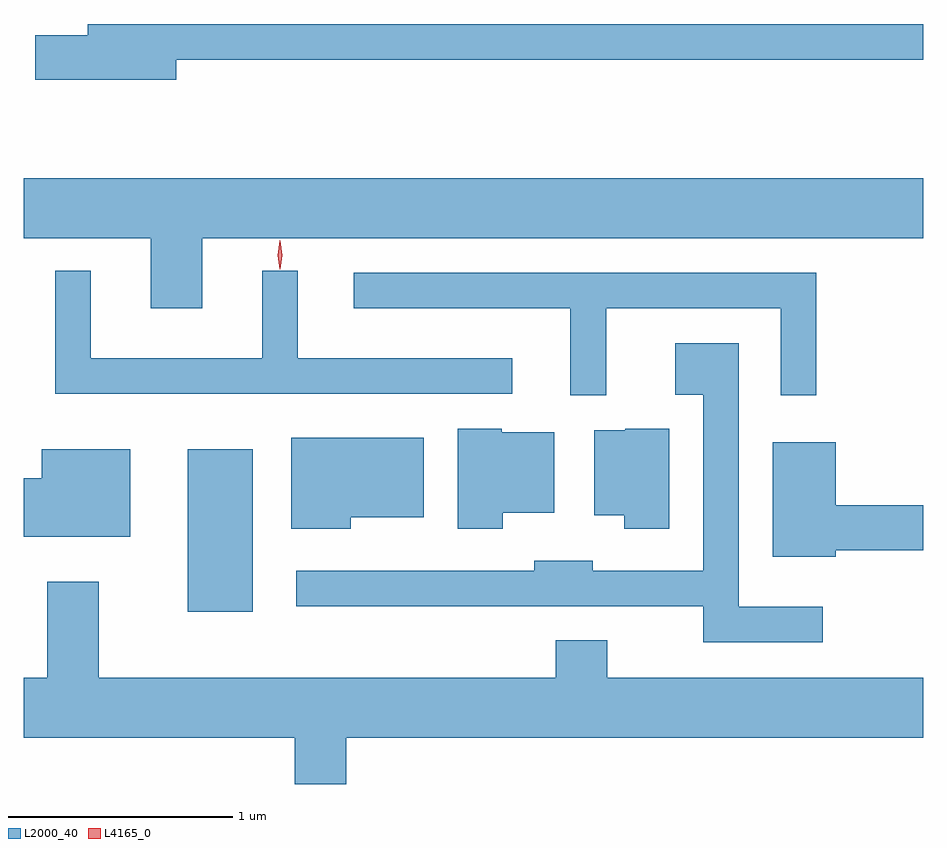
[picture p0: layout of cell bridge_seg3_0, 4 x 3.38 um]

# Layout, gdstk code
import gdstk
lib = gdstk.Library(unit=1e-6, precision=1e-09)
def R(c, l, rs):  # rectangles x0, y0, x1, y1
    for r in rs: c.add(gdstk.rectangle(r[:2], r[2:], *l))
def P(c, l, *ps):  # polygons
    for p in ps: c.add(gdstk.Polygon(p, *l))
L2000_40 = (2000, 40)
L4165_0 = (4165, 0)

bridge_seg3_0 = lib.new_cell('bridge_seg3_0')
R(bridge_seg3_0, L2000_40, [(1118.006,1250.896,1118.294,1251.619)])
P(bridge_seg3_0, L2000_40, [(1117.954,1253.351),(1121.275,1253.351),(1121.275,1253.509),(1117.561,1253.509),(1117.561,1253.459),(1117.326,1253.459),(1117.326,1253.261),(1117.954,1253.261)],
  [(1118.069,1252.556),(1121.275,1252.556),(1121.275,1252.824),(1117.275,1252.824),(1117.275,1252.556),(1117.841,1252.556),(1117.841,1252.246),(1118.069,1252.246)],
  [(1119.448,1252.024),(1118.494,1252.024),(1118.494,1252.413),(1118.336,1252.413),(1118.336,1252.024),(1117.574,1252.024),(1117.574,1252.413),(1117.416,1252.413),(1117.416,1251.866),(1119.448,1251.866)],
  [(1119.864,1252.246),(1120.641,1252.246),(1120.641,1251.858),(1120.799,1251.858),(1120.799,1252.404),(1118.743,1252.404),(1118.743,1252.246),(1119.706,1252.246),(1119.706,1251.858),(1119.864,1251.858)],
  [(1120.828,1250.919),(1120.454,1250.919),(1120.454,1252.089),(1120.171,1252.089),(1120.171,1251.861),(1120.296,1251.861),(1120.296,1251.079),(1119.804,1251.079),(1119.804,1251.124),(1119.546,1251.124),(1119.546,1251.079),(1118.488,1251.079),(1118.488,1250.921),(1120.296,1250.921),(1120.296,1250.761),(1120.828,1250.761)],
  [(1119.404,1251.336),(1119.634,1251.336),(1119.634,1251.694),(1119.4,1251.694),(1119.4,1251.709),(1119.206,1251.709),(1119.206,1251.266),(1119.404,1251.266)],
  [(1120.144,1251.709),(1119.95,1251.709),(1119.95,1251.704),(1119.811,1251.704),(1119.811,1251.326),(1119.946,1251.326),(1119.946,1251.266),(1120.144,1251.266)],
  [(1118.729,1251.316),(1119.054,1251.316),(1119.054,1251.669),(1118.466,1251.669),(1118.466,1251.266),(1118.729,1251.266)],
  [(1120.884,1251.171),(1121.275,1251.171),(1121.275,1251.369),(1120.884,1251.369),(1120.884,1251.649),(1120.606,1251.649),(1120.606,1251.141),(1120.884,1251.141)],
  [(1117.749,1251.619),(1117.356,1251.619),(1117.356,1251.489),(1117.275,1251.489),(1117.275,1251.231),(1117.749,1251.231)],
  [(1118.709,1250.336),(1121.275,1250.336),(1121.275,1250.604),(1119.869,1250.604),(1119.869,1250.769),(1119.641,1250.769),(1119.641,1250.604),(1117.609,1250.604),(1117.609,1251.029),(1117.381,1251.029),(1117.381,1250.604),(1117.275,1250.604),(1117.275,1250.336),(1118.481,1250.336),(1118.481,1250.131),(1118.709,1250.131)])
P(bridge_seg3_0, L4165_0, [(1118.414,1252.418),(1118.404,1252.482),(1118.414,1252.546),(1118.414,1252.547),(1118.415,1252.546),(1118.424,1252.482),(1118.415,1252.418),(1118.415,1252.418)])

lib.write_gds('bridge_seg3_0.gds')
